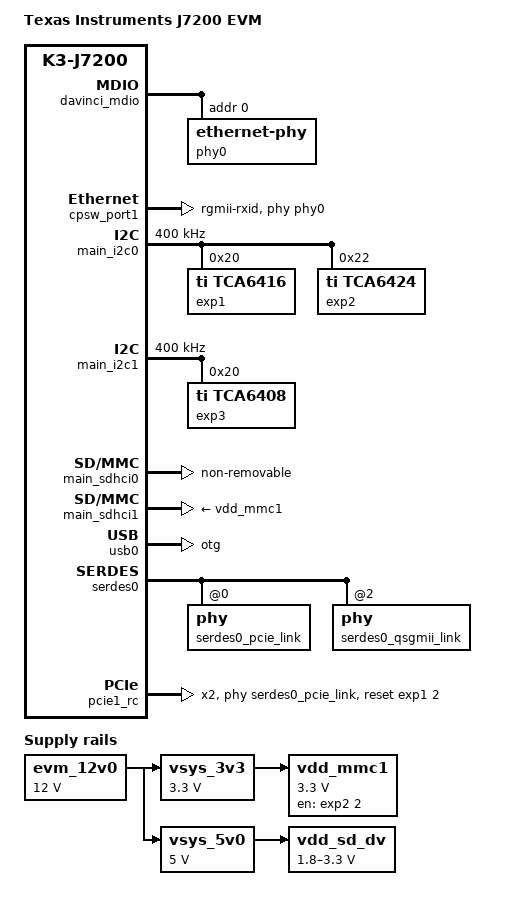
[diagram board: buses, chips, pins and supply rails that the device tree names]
// SPDX-License-Identifier: GPL-2.0
/*
 * Copyright (C) 2020 Texas Instruments Incorporated - https://www.ti.com/
 */

/dts-v1/;

#include "k3-j7200-som-p0.dtsi"
#include <dt-bindings/gpio/gpio.h>
#include <dt-bindings/net/ti-dp83867.h>
#include <dt-bindings/mux/ti-serdes.h>
#include <dt-bindings/phy/phy.h>

/ {
	compatible = "ti,j7200-evm", "ti,j7200";
	model = "Texas Instruments J7200 EVM";

	chosen {
		stdout-path = "serial2:115200n8";
		bootargs = "console=ttyS2,115200n8 earlycon=ns16550a,mmio32,0x02800000";
	};

	evm_12v0: fixedregulator-evm12v0 {
		/* main supply */
		compatible = "regulator-fixed";
		regulator-name = "evm_12v0";
		regulator-min-microvolt = <12000000>;
		regulator-max-microvolt = <12000000>;
		regulator-always-on;
		regulator-boot-on;
	};

	vsys_3v3: fixedregulator-vsys3v3 {
		/* Output of LM5140 */
		compatible = "regulator-fixed";
		regulator-name = "vsys_3v3";
		regulator-min-microvolt = <3300000>;
		regulator-max-microvolt = <3300000>;
		vin-supply = <&evm_12v0>;
		regulator-always-on;
		regulator-boot-on;
	};

	vsys_5v0: fixedregulator-vsys5v0 {
		/* Output of LM5140 */
		compatible = "regulator-fixed";
		regulator-name = "vsys_5v0";
		regulator-min-microvolt = <5000000>;
		regulator-max-microvolt = <5000000>;
		vin-supply = <&evm_12v0>;
		regulator-always-on;
		regulator-boot-on;
	};

	vdd_mmc1: fixedregulator-sd {
		/* Output of TPS22918 */
		compatible = "regulator-fixed";
		regulator-name = "vdd_mmc1";
		regulator-min-microvolt = <3300000>;
		regulator-max-microvolt = <3300000>;
		regulator-boot-on;
		enable-active-high;
		vin-supply = <&vsys_3v3>;
		gpio = <&exp2 2 GPIO_ACTIVE_HIGH>;
	};

	vdd_sd_dv: gpio-regulator-TLV71033 {
		/* Output of TLV71033 */
		compatible = "regulator-gpio";
		regulator-name = "tlv71033";
		pinctrl-names = "default";
		pinctrl-0 = <&vdd_sd_dv_pins_default>;
		regulator-min-microvolt = <1800000>;
		regulator-max-microvolt = <3300000>;
		regulator-boot-on;
		vin-supply = <&vsys_5v0>;
		gpios = <&main_gpio0 55 GPIO_ACTIVE_HIGH>;
		states = <1800000 0x0>,
			 <3300000 0x1>;
	};
};

&wkup_pmx2 {
	mcu_cpsw_pins_default: mcu-cpsw-pins-default {
		pinctrl-single,pins = <
			J721E_WKUP_IOPAD(0x0000, PIN_OUTPUT, 0) /* MCU_RGMII1_TX_CTL */
			J721E_WKUP_IOPAD(0x0004, PIN_INPUT, 0) /* MCU_RGMII1_RX_CTL */
			J721E_WKUP_IOPAD(0x0008, PIN_OUTPUT, 0) /* MCU_RGMII1_TD3 */
			J721E_WKUP_IOPAD(0x000c, PIN_OUTPUT, 0) /* MCU_RGMII1_TD2 */
			J721E_WKUP_IOPAD(0x0010, PIN_OUTPUT, 0) /* MCU_RGMII1_TD1 */
			J721E_WKUP_IOPAD(0x0014, PIN_OUTPUT, 0) /* MCU_RGMII1_TD0 */
			J721E_WKUP_IOPAD(0x0020, PIN_INPUT, 0) /* MCU_RGMII1_RD3 */
			J721E_WKUP_IOPAD(0x0024, PIN_INPUT, 0) /* MCU_RGMII1_RD2 */
			J721E_WKUP_IOPAD(0x0028, PIN_INPUT, 0) /* MCU_RGMII1_RD1 */
			J721E_WKUP_IOPAD(0x002c, PIN_INPUT, 0) /* MCU_RGMII1_RD0 */
			J721E_WKUP_IOPAD(0x0018, PIN_OUTPUT, 0) /* MCU_RGMII1_TXC */
			J721E_WKUP_IOPAD(0x001c, PIN_INPUT, 0) /* MCU_RGMII1_RXC */
		>;
	};

	mcu_mdio_pins_default: mcu-mdio1-pins-default {
		pinctrl-single,pins = <
			J721E_WKUP_IOPAD(0x0034, PIN_OUTPUT, 0) /* (L1) MCU_MDIO0_MDC */
			J721E_WKUP_IOPAD(0x0030, PIN_INPUT, 0) /* (L4) MCU_MDIO0_MDIO */
		>;
	};
};

&main_pmx0 {
	main_i2c0_pins_default: main-i2c0-pins-default {
		pinctrl-single,pins = <
			J721E_IOPAD(0xd4, PIN_INPUT_PULLUP, 0) /* (V3) I2C0_SCL */
			J721E_IOPAD(0xd8, PIN_INPUT_PULLUP, 0) /* (W2) I2C0_SDA */
		>;
	};

	main_i2c1_pins_default: main-i2c1-pins-default {
		pinctrl-single,pins = <
			J721E_IOPAD(0xdc, PIN_INPUT_PULLUP, 3) /* (U3) ECAP0_IN_APWM_OUT.I2C1_SCL */
			J721E_IOPAD(0xe0, PIN_INPUT_PULLUP, 3) /* (T3) EXT_REFCLK1.I2C1_SDA */
		>;
	};

	main_mmc1_pins_default: main-mmc1-pins-default {
		pinctrl-single,pins = <
			J721E_IOPAD(0x104, PIN_INPUT, 0) /* (M20) MMC1_CMD */
			J721E_IOPAD(0x100, PIN_INPUT, 0) /* (P21) MMC1_CLK */
			J721E_IOPAD(0xfc, PIN_INPUT, 0) /* (P25) MMC1_CLKLB */
			J721E_IOPAD(0xf8, PIN_INPUT, 0) /* (M19) MMC1_DAT0 */
			J721E_IOPAD(0xf4, PIN_INPUT, 0) /* (N21) MMC1_DAT1 */
			J721E_IOPAD(0xf0, PIN_INPUT, 0) /* (N20) MMC1_DAT2 */
			J721E_IOPAD(0xec, PIN_INPUT, 0) /* (N19) MMC1_DAT3 */
			J721E_IOPAD(0xe4, PIN_INPUT, 8) /* (V1) TIMER_IO0.MMC1_SDCD */
		>;
	};

	vdd_sd_dv_pins_default: vdd-sd-dv-pins-default {
		pinctrl-single,pins = <
			J721E_IOPAD(0xd0, PIN_OUTPUT, 7) /* (T5) SPI0_D1.GPIO0_55 */
		>;
	};
};

&main_pmx1 {
	main_usbss0_pins_default: main-usbss0-pins-default {
		pinctrl-single,pins = <
			J721E_IOPAD(0x04, PIN_OUTPUT, 0) /* (T4) USB0_DRVVBUS */
		>;
	};
};

&wkup_uart0 {
	/* Wakeup UART is used by System firmware */
	status = "reserved";
};

&main_uart0 {
	/* Shared with ATF on this platform */
	power-domains = <&k3_pds 146 TI_SCI_PD_SHARED>;
};

&main_uart2 {
	/* MAIN UART 2 is used by R5F firmware */
	status = "reserved";
};

&main_uart3 {
	/* UART not brought out */
	status = "disabled";
};

&main_uart4 {
	/* UART not brought out */
	status = "disabled";
};

&main_uart5 {
	/* UART not brought out */
	status = "disabled";
};

&main_uart6 {
	/* UART not brought out */
	status = "disabled";
};

&main_uart7 {
	/* UART not brought out */
	status = "disabled";
};

&main_uart8 {
	/* UART not brought out */
	status = "disabled";
};

&main_uart9 {
	/* UART not brought out */
	status = "disabled";
};

&main_gpio2 {
	status = "disabled";
};

&main_gpio4 {
	status = "disabled";
};

&main_gpio6 {
	status = "disabled";
};

&wkup_gpio1 {
	status = "disabled";
};

&mcu_cpsw {
	pinctrl-names = "default";
	pinctrl-0 = <&mcu_cpsw_pins_default &mcu_mdio_pins_default>;
};

&davinci_mdio {
	phy0: ethernet-phy@0 {
		reg = <0>;
		ti,rx-internal-delay = <DP83867_RGMIIDCTL_2_00_NS>;
		ti,fifo-depth = <DP83867_PHYCR_FIFO_DEPTH_4_B_NIB>;
	};
};

&cpsw_port1 {
	phy-mode = "rgmii-rxid";
	phy-handle = <&phy0>;
};

&main_i2c0 {
	pinctrl-names = "default";
	pinctrl-0 = <&main_i2c0_pins_default>;
	clock-frequency = <400000>;

	exp1: gpio@20 {
		compatible = "ti,tca6416";
		reg = <0x20>;
		gpio-controller;
		#gpio-cells = <2>;
	};

	exp2: gpio@22 {
		compatible = "ti,tca6424";
		reg = <0x22>;
		gpio-controller;
		#gpio-cells = <2>;
	};
};

/*
 * The j7200 CPB board is identical to the CPB used for J721E, the SOMs can be
 * swapped on the CPB.
 *
 * main_i2c1 of J7200 is connected to the CPB i2c bus labeled as i2c3.
 * The i2c1 of the CPB (as it is labeled) is not connected to j7200.
 */
&main_i2c1 {
	pinctrl-names = "default";
	pinctrl-0 = <&main_i2c1_pins_default>;
	clock-frequency = <400000>;

	exp3: gpio@20 {
		compatible = "ti,tca6408";
		reg = <0x20>;
		gpio-controller;
		#gpio-cells = <2>;
		gpio-line-names = "CODEC_RSTz", "CODEC_SPARE1", "UB926_RESETn",
				  "UB926_LOCK", "UB926_PWR_SW_CNTRL",
				  "UB926_TUNER_RESET", "UB926_GPIO_SPARE", "";
	};
};

&main_sdhci0 {
	/* eMMC */
	non-removable;
	ti,driver-strength-ohm = <50>;
	disable-wp;
};

&main_sdhci1 {
	/* SD card */
	pinctrl-0 = <&main_mmc1_pins_default>;
	pinctrl-names = "default";
	vmmc-supply = <&vdd_mmc1>;
	vqmmc-supply = <&vdd_sd_dv>;
	ti,driver-strength-ohm = <50>;
	disable-wp;
};

&serdes_ln_ctrl {
	idle-states = <J7200_SERDES0_LANE0_PCIE1_LANE0>, <J7200_SERDES0_LANE1_PCIE1_LANE1>,
		      <J7200_SERDES0_LANE2_QSGMII_LANE1>, <J7200_SERDES0_LANE3_IP4_UNUSED>;
};

&usb_serdes_mux {
	idle-states = <1>; /* USB0 to SERDES lane 3 */
};

&usbss0 {
	pinctrl-names = "default";
	pinctrl-0 = <&main_usbss0_pins_default>;
	ti,vbus-divider;
	ti,usb2-only;
};

&usb0 {
	dr_mode = "otg";
	maximum-speed = "high-speed";
};

&tscadc0 {
	adc {
		ti,adc-channels = <0 1 2 3 4 5 6 7>;
	};
};

&serdes_refclk {
	clock-frequency = <100000000>;
};

&serdes0 {
	serdes0_pcie_link: phy@0 {
		reg = <0>;
		cdns,num-lanes = <2>;
		#phy-cells = <0>;
		cdns,phy-type = <PHY_TYPE_PCIE>;
		resets = <&serdes_wiz0 1>, <&serdes_wiz0 2>;
	};

	serdes0_qsgmii_link: phy@1 {
		reg = <2>;
		cdns,num-lanes = <1>;
		#phy-cells = <0>;
		cdns,phy-type = <PHY_TYPE_QSGMII>;
		resets = <&serdes_wiz0 3>;
	};
};

&pcie1_rc {
	reset-gpios = <&exp1 2 GPIO_ACTIVE_HIGH>;
	phys = <&serdes0_pcie_link>;
	phy-names = "pcie-phy";
	num-lanes = <2>;
};

&pcie1_ep {
	phys = <&serdes0_pcie_link>;
	phy-names = "pcie-phy";
	num-lanes = <2>;
	status = "disabled";
};
